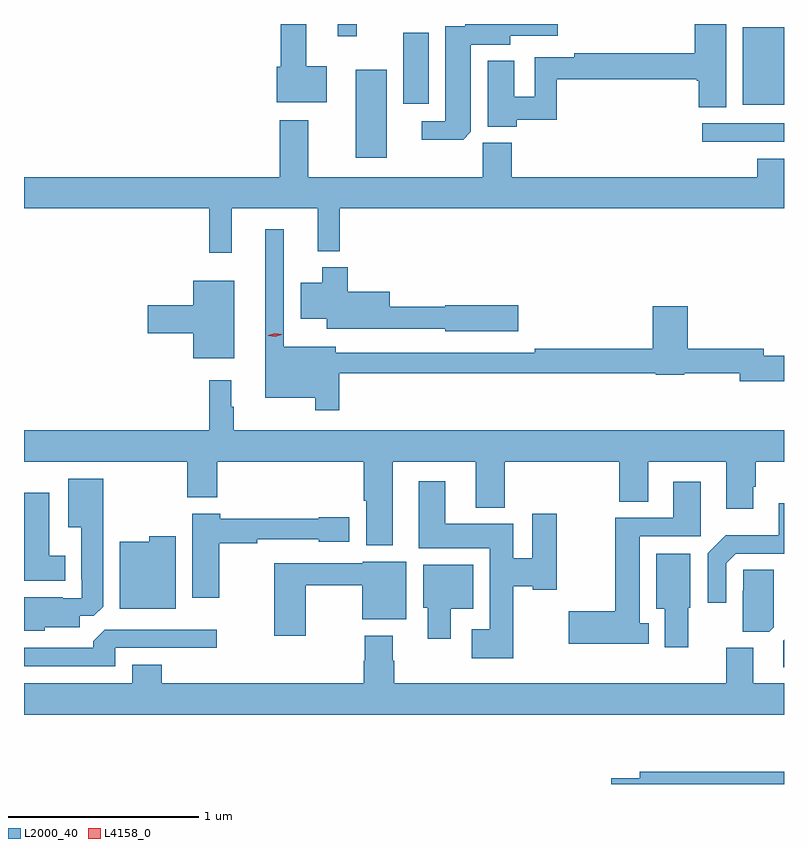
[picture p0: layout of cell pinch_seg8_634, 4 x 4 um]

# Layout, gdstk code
import gdstk
lib = gdstk.Library(unit=1e-6, precision=1e-09)
def R(c, l, rs):  # rectangles x0, y0, x1, y1
    for r in rs: c.add(gdstk.rectangle(r[:2], r[2:], *l))
def P(c, l, *ps):  # polygons
    for p in ps: c.add(gdstk.Polygon(p, *l))
L2000_40 = (2000, 40)
L4158_0 = (4158, 0)

pinch_seg8_634 = lib.new_cell('pinch_seg8_634')
R(pinch_seg8_634, L2000_40, [(335.819,1091.46,335.98,1091.923), (337.641,1091.544,338.072,1091.64), (337.856,1091.738,338.072,1092.145), (336.068,1091.742,336.202,1092.118), (335.723,1092.099,335.823,1092.163)])
P(pinch_seg8_634, L2000_40, [(336.665,1091.658),(336.875,1091.658),(336.875,1091.872),(337.613,1091.872),(337.613,1091.865),(337.622,1091.865),(337.622,1091.725),(337.768,1091.725),(337.768,1092.163),(337.601,1092.163),(337.601,1092.008),(336.967,1092.008),(336.967,1091.988),(336.759,1091.988),(336.759,1091.779),(336.652,1091.779),(336.652,1091.969),(336.512,1091.969),(336.512,1091.623),(336.665,1091.623)],
  [(336.424,1091.596),(336.424,1092.054),(336.631,1092.054),(336.631,1092.101),(336.88,1092.101),(336.88,1092.163),(336.395,1092.163),(336.395,1092.15),(336.29,1092.15),(336.29,1091.652),(336.165,1091.652),(336.165,1091.555),(336.383,1091.555)],
  [(335.665,1091.941),(335.557,1091.941),(335.557,1092.163),(335.423,1092.163),(335.423,1091.937),(335.402,1091.937),(335.402,1091.75),(335.665,1091.75)],
  [(335.165,1091.192),(335.618,1091.192),(335.618,1090.967),(335.735,1090.967),(335.735,1091.192),(338.072,1091.192),(338.072,1091.455),(337.931,1091.455),(337.931,1091.356),(336.638,1091.356),(336.638,1091.538),(336.487,1091.538),(336.487,1091.356),(335.569,1091.356),(335.569,1091.656),(335.417,1091.656),(335.417,1091.356),(334.072,1091.356),(334.072,1091.192),(335.047,1091.192),(335.047,1090.959),(335.165,1090.959)],
  [(335.732,1090.326),(337.398,1090.326),(337.398,1090.318),(337.548,1090.318),(337.548,1090.326),(337.838,1090.326),(337.838,1090.283),(338.072,1090.283),(338.072,1090.418),(337.966,1090.418),(337.966,1090.454),(337.565,1090.454),(337.565,1090.678),(337.382,1090.678),(337.382,1090.454),(336.76,1090.454),(336.76,1090.434),(335.713,1090.434),(335.713,1090.465),(335.439,1090.465),(335.439,1091.083),(335.342,1091.083),(335.342,1090.196),(335.604,1090.196),(335.604,1090.131),(335.732,1090.131)],
  [(336.673,1090.682),(336.288,1090.682),(336.288,1090.676),(335.998,1090.676),(335.998,1090.753),(335.777,1090.753),(335.777,1090.882),(335.642,1090.882),(335.642,1090.801),(335.528,1090.801),(335.528,1090.613),(335.666,1090.613),(335.666,1090.559),(335.894,1090.559),(335.894,1090.56),(336.288,1090.56),(336.288,1090.547),(336.673,1090.547)],
  [(335.179,1090.813),(334.964,1090.813),(334.964,1090.682),(334.722,1090.682),(334.722,1090.535),(334.964,1090.535),(334.964,1090.403),(335.179,1090.403)],
  [(335.176,1090.148),(335.164,1090.148),(335.164,1090.288),(335.047,1090.288),(335.047,1090.024),(334.072,1090.024),(334.072,1089.86),(334.93,1089.86),(334.93,1089.671),(335.09,1089.671),(335.09,1089.86),(335.861,1089.86),(335.861,1089.655),(335.873,1089.655),(335.873,1089.419),(336.013,1089.419),(336.013,1089.86),(336.449,1089.86),(336.449,1089.617),(336.602,1089.617),(336.602,1089.86),(337.205,1089.86),(337.205,1089.649),(337.357,1089.649),(337.357,1089.86),(337.769,1089.86),(337.769,1089.612),(337.909,1089.612),(337.909,1089.727),(337.922,1089.727),(337.922,1089.86),(338.072,1089.86),(338.072,1090.024),(335.176,1090.024)],
  [(334.182,1088.987),(334.366,1088.987),(334.366,1089.048),(334.44,1089.048),(334.489,1089.097),(334.489,1089.769),(334.304,1089.769),(334.304,1089.515),(334.373,1089.515),(334.373,1089.241),(334.377,1089.241),(334.377,1089.141),(334.277,1089.141),(334.277,1089.145),(334.072,1089.145),(334.072,1088.969),(334.182,1088.969)],
  [(336.646,1089.203),(336.75,1089.203),(336.75,1089.185),(336.876,1089.185),(336.876,1089.586),(336.746,1089.586),(336.746,1089.35),(336.646,1089.35),(336.646,1089.532),(336.289,1089.532),(336.289,1089.757),(336.149,1089.757),(336.149,1089.404),(336.524,1089.404),(336.524,1088.977),(336.429,1088.977),(336.429,1088.825),(336.646,1088.825)],
  [(337.36,1089.01),(337.312,1089.01),(337.312,1089.468),(337.633,1089.468),(337.633,1089.754),(337.49,1089.754),(337.49,1089.564),(337.183,1089.564),(337.183,1089.071),(336.939,1089.071),(336.939,1088.9),(337.36,1088.9)],
  [(334.288,1089.364),(334.204,1089.364),(334.204,1089.697),(334.072,1089.697),(334.072,1089.233),(334.288,1089.233)],
  [(337.767,1089.324),(337.818,1089.375),(338.072,1089.375),(338.072,1089.64),(338.045,1089.64),(338.045,1089.472),(337.765,1089.472),(337.671,1089.378),(337.671,1089.117),(337.767,1089.117)],
  [(335.1,1089.43),(335.3,1089.43),(335.3,1089.45),(335.622,1089.45),(335.622,1089.437),(335.785,1089.437),(335.785,1089.567),(335.622,1089.567),(335.622,1089.559),(335.105,1089.559),(335.105,1089.586),(334.958,1089.586),(334.958,1089.144),(335.1,1089.144)],
  [(334.87,1089.466),(334.731,1089.466),(334.731,1089.439),(334.577,1089.439),(334.577,1089.086),(334.87,1089.086)],
  [(337.567,1089.09),(337.579,1089.09),(337.579,1089.376),(337.4,1089.376),(337.4,1089.086),(337.445,1089.086),(337.445,1088.883),(337.567,1088.883)],
  [(335.554,1089.208),(335.852,1089.208),(335.852,1089.029),(336.085,1089.029),(336.085,1089.334),(335.856,1089.334),(335.856,1089.324),(335.389,1089.324),(335.389,1088.943),(335.554,1088.943)],
  [(336.319,1089.086),(336.436,1089.086),(336.436,1089.316),(336.173,1089.316),(336.173,1089.09),(336.197,1089.09),(336.197,1088.928),(336.319,1088.928)],
  [(338.019,1088.988),(338.019,1089.29),(337.857,1089.29),(337.857,1089.179),(337.856,1089.179),(337.856,1088.965),(337.995,1088.965)],
  [(334.551,1088.88),(335.086,1088.88),(335.086,1088.976),(334.497,1088.976),(334.436,1088.914),(334.436,1088.88),(334.072,1088.88),(334.072,1088.784),(334.551,1088.784)],
  [(338.072,1088.692),(337.909,1088.692),(337.909,1088.88),(337.769,1088.88),(337.769,1088.692),(336.021,1088.692),(336.021,1088.813),(336.013,1088.813),(336.013,1088.944),(335.866,1088.944),(335.866,1088.813),(335.861,1088.813),(335.861,1088.692),(334.796,1088.692),(334.796,1088.791),(334.643,1088.791),(334.643,1088.692),(334.072,1088.692),(334.072,1088.528),(338.072,1088.528)],
  [(338.072,1088.921),(338.069,1088.918),(338.069,1088.778),(338.072,1088.778)],
  [(338.072,1088.227),(337.313,1088.227),(337.313,1088.193),(337.164,1088.193),(337.164,1088.163),(338.072,1088.163)])
P(pinch_seg8_634, L4158_0, [(335.394,1090.516),(335.358,1090.523),(335.358,1090.523),(335.358,1090.524),(335.393,1090.536),(335.429,1090.529),(335.429,1090.528),(335.429,1090.528)])

lib.write_gds('pinch_seg8_634.gds')
